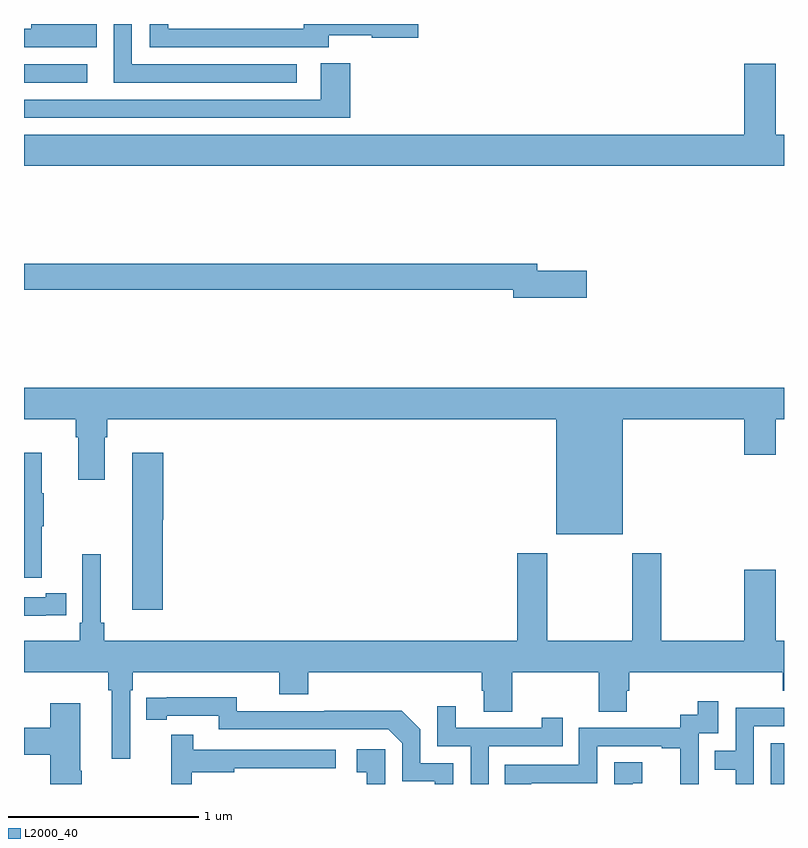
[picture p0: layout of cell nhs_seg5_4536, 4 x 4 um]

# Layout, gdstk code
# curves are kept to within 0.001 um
import gdstk
lib = gdstk.Library(unit=1e-6, precision=1e-09)
def R(c, l, rs):  # rectangles x0, y0, x1, y1
    for r in rs: c.add(gdstk.rectangle(r[:2], r[2:], *l))
def P(c, l, *ps):  # polygons
    for p in ps: c.add(gdstk.Polygon(p, *l))
L2000_40 = (2000, 40)

nhs_seg5_4536 = lib.new_cell('nhs_seg5_4536')
R(nhs_seg5_4536, L2000_40, [(380.931,894.799,381,895.014), (377,898.491,377.332,898.587)])
P(nhs_seg5_4536, L2000_40, [(377.383,898.799),(377.039,898.799),(377.039,898.773),(377,898.773),(377,898.677),(377.143,898.677),(377.143,898.676),(377.383,898.676)],
  [(378.436,898.587),(377.568,898.587),(377.568,898.799),(377.472,898.799),(377.472,898.491),(378.436,898.491)],
  [(378.604,898.739),(378.831,898.739),(378.831,898.727),(379.075,898.727),(379.075,898.799),(378.473,898.799),(378.473,898.773),(377.76,898.773),(377.76,898.799),(377.661,898.799),(377.661,898.677),(378.604,898.677)],
  [(378.716,898.592),(378.563,898.592),(378.563,898.401),(377,898.401),(377,898.305),(378.716,898.305)],
  [(381,898.216),(380.956,898.216),(380.956,898.591),(380.792,898.591),(380.792,898.216),(377,898.216),(377,898.052),(381,898.052)],
  [(379.963,897.5),(379.702,897.5),(379.702,897.536),(377,897.536),(377,897.4),(379.574,897.4),(379.574,897.358),(379.963,897.358)],
  [(380.152,896.72),(380.792,896.72),(380.792,896.532),(380.956,896.532),(380.956,896.72),(381,896.72),(381,896.884),(377,896.884),(377,896.72),(377.273,896.72),(377.273,896.624),(377.285,896.624),(377.285,896.4),(377.425,896.4),(377.425,896.624),(377.438,896.624),(377.438,896.72),(379.802,896.72),(379.802,896.114),(380.152,896.114)],
  [(377.729,896.19),(377.734,896.19),(377.734,896.542),(377.57,896.542),(377.57,895.716),(377.729,895.716)],
  [(377.093,896.155),(377.104,896.155),(377.104,896.329),(377.093,896.329),(377.093,896.542),(377,896.542),(377,895.884),(377.093,895.884)],
  [(377.559,895.292),(377.573,895.292),(377.573,895.388),(378.344,895.388),(378.344,895.271),(378.497,895.271),(378.497,895.388),(379.409,895.388),(379.409,895.29),(379.421,895.29),(379.421,895.18),(379.569,895.18),(379.569,895.388),(380.026,895.388),(380.026,895.18),(380.173,895.18),(380.173,895.29),(380.186,895.29),(380.186,895.388),(380.993,895.388),(380.993,895.289),(381,895.289),(381,895.552),(380.956,895.552),(380.956,895.927),(380.792,895.927),(380.792,895.552),(380.355,895.552),(380.355,896.014),(380.2,896.014),(380.2,895.552),(379.755,895.552),(379.755,896.014),(379.595,896.014),(379.595,895.552),(377.423,895.552),(377.423,895.648),(377.404,895.648),(377.404,896.008),(377.307,896.008),(377.307,895.648),(377.294,895.648),(377.294,895.552),(377,895.552),(377,895.388),(377.443,895.388),(377.443,895.292),(377.462,895.292),(377.462,894.933),(377.559,894.933)],
  [(377.114,895.686),(377.222,895.686),(377.222,895.802),(377.114,895.802),(377.114,895.782),(377,895.782),(377,895.685),(377.114,895.685)],
  [(379.26,894.909),(379.086,894.909),(379.086,895.086),(378.988,895.184),(378.58,895.184),(378.58,895.182),(378.12,895.182),(378.12,895.255),(377.644,895.254),(377.644,895.138),(377.752,895.138),(377.752,895.158),(378.024,895.158),(378.024,895.086),(378.918,895.086),(378.99,895.014),(378.99,894.813),(379.163,894.813),(379.163,894.799),(379.26,894.799)],
  [(379.671,894.804),(380.016,894.804),(380.016,894.999),(380.357,894.999),(380.357,894.987),(380.453,894.987),(380.453,894.799),(380.552,894.799),(380.552,894.836),(380.55,894.836),(380.55,895.065),(380.655,895.065),(380.655,895.234),(380.547,895.234),(380.547,895.164),(380.454,895.164),(380.454,895.095),(379.92,895.095),(379.92,894.9),(379.531,894.9),(379.531,894.799),(379.671,894.799)],
  [(377.304,894.869),(377.296,894.869),(377.296,895.225),(377.138,895.225),(377.138,895.095),(377,895.095),(377,894.953),(377.138,894.953),(377.138,894.799),(377.304,894.799)],
  [(379.446,894.999),(379.835,894.999),(379.835,895.147),(379.724,895.147),(379.724,895.095),(379.273,895.095),(379.273,895.207),(379.176,895.207),(379.176,894.999),(379.35,894.999),(379.35,894.799),(379.446,894.799)],
  [(380.841,895.104),(381,895.104),(381,895.2),(380.745,895.2),(380.745,894.975),(380.635,894.975),(380.635,894.874),(380.745,894.874),(380.745,894.799),(380.841,894.799)],
  [(377.884,894.862),(378.107,894.862),(378.107,894.882),(378.64,894.882),(378.64,894.978),(377.891,894.978),(377.891,895.057),(377.774,895.057),(377.774,894.799),(377.884,894.799)],
  [(378.9,894.982),(378.75,894.982),(378.75,894.861),(378.803,894.861),(378.803,894.799),(378.9,894.799)],
  [(380.205,894.803),(380.254,894.803),(380.254,894.913),(380.106,894.913),(380.106,894.799),(380.205,894.799)])

lib.write_gds('nhs_seg5_4536.gds')
